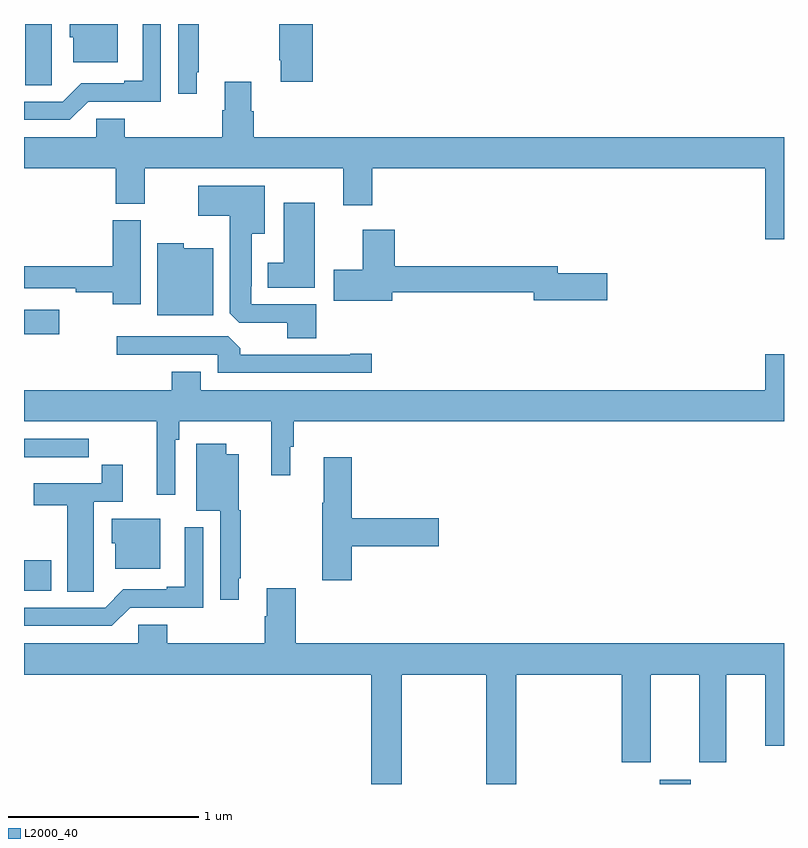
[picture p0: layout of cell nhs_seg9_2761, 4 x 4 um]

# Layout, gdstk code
import gdstk
lib = gdstk.Library(unit=1e-6, precision=1e-09)
def R(c, l, rs):  # rectangles x0, y0, x1, y1
    for r in rs: c.add(gdstk.rectangle(r[:2], r[2:], *l))
def P(c, l, *ps):  # polygons
    for p in ps: c.add(gdstk.Polygon(p, *l))
L2000_40 = (2000, 40)

nhs_seg9_2761 = lib.new_cell('nhs_seg9_2761')
R(nhs_seg9_2761, L2000_40, [(272.345,1206.5,272.509,1206.523), (269,1207.517,269.143,1207.677), (269,1208.866,269.185,1208.995)])
P(nhs_seg9_2761, L2000_40, [(269.337,1210.092),(269.721,1210.092),(269.721,1210.5),(269.624,1210.5),(269.624,1210.201),(269.528,1210.201),(269.528,1210.188),(269.301,1210.188),(269.205,1210.092),(269,1210.092),(269,1209.996),(269.241,1209.996)],
  [(269.145,1210.288),(269.146,1210.288),(269.146,1210.5),(269.006,1210.5),(269.006,1210.177),(269.145,1210.177)],
  [(270.521,1210.5),(270.343,1210.5),(270.343,1210.309),(270.35,1210.309),(270.35,1210.197),(270.521,1210.197)],
  [(269.494,1210.5),(269.24,1210.5),(269.24,1210.431),(269.258,1210.431),(269.258,1210.298),(269.494,1210.298)],
  [(269.908,1210.246),(269.92,1210.246),(269.92,1210.5),(269.811,1210.5),(269.811,1210.134),(269.908,1210.134)],
  [(270.209,1210.041),(270.196,1210.041),(270.196,1210.195),(270.056,1210.195),(270.056,1210.046),(270.044,1210.046),(270.044,1209.904),(269.531,1209.904),(269.531,1210.002),(269.379,1210.002),(269.379,1209.904),(269,1209.904),(269,1209.74),(269.483,1209.74),(269.483,1209.553),(269.635,1209.553),(269.635,1209.74),(270.68,1209.74),(270.68,1209.546),(270.833,1209.546),(270.833,1209.74),(272.9,1209.74),(272.9,1209.366),(273,1209.366),(273,1209.904),(270.209,1209.904)],
  [(270.539,1209.024),(270.195,1209.024),(270.195,1209.121),(270.199,1209.121),(270.199,1209.395),(270.268,1209.395),(270.268,1209.649),(269.916,1209.649),(269.916,1209.491),(270.083,1209.491),(270.083,1208.977),(270.132,1208.928),(270.386,1208.928),(270.386,1208.845),(270.539,1208.845)],
  [(270.529,1209.559),(270.368,1209.559),(270.368,1209.244),(270.284,1209.244),(270.284,1209.113),(270.529,1209.113)],
  [(269.614,1209.468),(269.468,1209.468),(269.468,1209.224),(269,1209.224),(269,1209.108),(269.272,1209.108),(269.272,1209.088),(269.468,1209.088),(269.468,1209.024),(269.614,1209.024)],
  [(270.937,1209.088),(271.682,1209.088),(271.682,1209.046),(272.071,1209.046),(272.071,1209.188),(271.81,1209.188),(271.81,1209.224),(270.95,1209.224),(270.95,1209.418),(270.782,1209.418),(270.782,1209.207),(270.63,1209.207),(270.63,1209.044),(270.937,1209.044)],
  [(269.995,1209.319),(269.841,1209.319),(269.841,1209.346),(269.702,1209.346),(269.702,1208.966),(269.995,1208.966)],
  [(270.829,1208.765),(270.716,1208.765),(270.716,1208.76),(270.137,1208.76),(270.137,1208.794),(270.075,1208.856),(269.487,1208.856),(269.487,1208.76),(270.021,1208.76),(270.021,1208.664),(270.829,1208.664)],
  [(269.796,1208.312),(269.816,1208.312),(269.816,1208.408),(270.301,1208.408),(270.301,1208.124),(270.4,1208.124),(270.4,1208.274),(270.419,1208.274),(270.419,1208.408),(273,1208.408),(273,1208.761),(272.9,1208.761),(272.9,1208.572),(269.929,1208.572),(269.929,1208.671),(269.777,1208.671),(269.777,1208.572),(269,1208.572),(269,1208.408),(269.699,1208.408),(269.699,1208.022),(269.796,1208.022)],
  [(269.228,1208.22),(269.341,1208.22),(269.341,1208.316),(269,1208.316),(269,1208.22),(269.062,1208.22),(269.062,1208.219),(269.228,1208.219)],
  [(270.13,1207.582),(270.142,1207.582),(270.142,1207.941),(270.13,1207.941),(270.13,1208.236),(270.064,1208.236),(270.064,1208.29),(269.906,1208.29),(269.906,1207.937),(270.033,1207.937),(270.033,1207.47),(270.13,1207.47)],
  [(270.725,1207.751),(271.183,1207.751),(271.183,1207.898),(270.725,1207.898),(270.725,1208.221),(270.578,1208.221),(270.578,1207.981),(270.571,1207.981),(270.571,1207.572),(270.725,1207.572)],
  [(269.367,1207.624),(269.368,1207.624),(269.368,1207.986),(269.519,1207.986),(269.519,1208.179),(269.41,1208.179),(269.41,1208.082),(269.051,1208.082),(269.051,1207.966),(269.228,1207.966),(269.228,1207.513),(269.367,1207.513)],
  [(269.716,1207.897),(269.462,1207.897),(269.462,1207.767),(269.48,1207.767),(269.48,1207.634),(269.716,1207.634)],
  [(269.559,1207.428),(269.943,1207.428),(269.943,1207.852),(269.846,1207.852),(269.846,1207.537),(269.75,1207.537),(269.75,1207.524),(269.523,1207.524),(269.427,1207.428),(269,1207.428),(269,1207.332),(269.463,1207.332)],
  [(270.987,1207.076),(271.432,1207.076),(271.432,1206.5),(271.592,1206.5),(271.592,1207.076),(272.147,1207.076),(272.147,1206.615),(272.299,1206.615),(272.299,1207.076),(272.555,1207.076),(272.555,1206.615),(272.695,1206.615),(272.695,1207.076),(272.9,1207.076),(272.9,1206.702),(273,1206.702),(273,1207.24),(270.431,1207.24),(270.431,1207.531),(270.278,1207.531),(270.278,1207.382),(270.266,1207.382),(270.266,1207.24),(269.753,1207.24),(269.753,1207.338),(269.601,1207.338),(269.601,1207.24),(269,1207.24),(269,1207.076),(270.827,1207.076),(270.827,1206.5),(270.987,1206.5)])

lib.write_gds('nhs_seg9_2761.gds')
